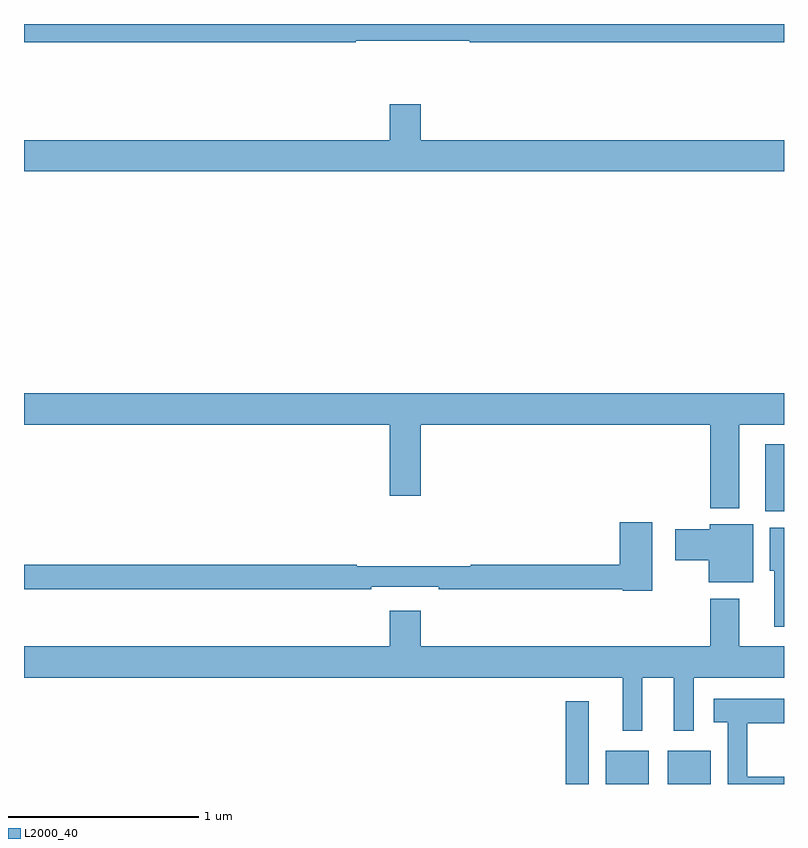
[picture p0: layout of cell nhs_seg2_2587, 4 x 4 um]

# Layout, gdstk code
import gdstk
lib = gdstk.Library(unit=1e-6, precision=1e-09)
def R(c, l, rs):  # rectangles x0, y0, x1, y1
    for r in rs: c.add(gdstk.rectangle(r[:2], r[2:], *l))
def P(c, l, *ps):  # polygons
    for p in ps: c.add(gdstk.Polygon(p, *l))
L2000_40 = (2000, 40)

nhs_seg2_2587 = lib.new_cell('nhs_seg2_2587')
R(nhs_seg2_2587, L2000_40, [(249.852,589.8,249.973,590.236), (250.061,589.8,250.288,589.975), (250.388,589.8,250.615,589.975), (250.901,591.236,251,591.589)])
P(nhs_seg2_2587, L2000_40, [(248.745,593.712),(249.345,593.712),(249.345,593.704),(251,593.704),(251,593.8),(247,593.8),(247,593.704),(248.745,593.704)],
  [(251,593.188),(249.088,593.188),(249.088,593.377),(248.924,593.377),(248.924,593.188),(247,593.188),(247,593.024),(251,593.024)],
  [(250.765,591.692),(251,591.692),(251,591.856),(247,591.856),(247,591.692),(248.924,591.692),(248.924,591.318),(249.088,591.318),(249.088,591.692),(250.613,591.692),(250.613,591.251),(250.765,591.251)],
  [(250.306,591.178),(250.136,591.178),(250.136,590.954),(249.352,590.954),(249.352,590.947),(248.752,590.947),(248.752,590.954),(247,590.954),(247,590.826),(248.828,590.826),(248.828,590.838),(249.184,590.838),(249.184,590.826),(250.152,590.826),(250.152,590.818),(250.306,590.818)],
  [(250.837,591.166),(250.608,591.166),(250.608,591.142),(250.428,591.142),(250.428,590.977),(250.604,590.977),(250.604,590.861),(250.837,590.861)],
  [(251,591.148),(250.925,591.148),(250.925,590.922),(250.949,590.922),(250.949,590.628),(251,590.628)],
  [(250.255,590.36),(250.421,590.36),(250.421,590.079),(250.525,590.079),(250.525,590.36),(251,590.36),(251,590.524),(250.765,590.524),(250.765,590.776),(250.613,590.776),(250.613,590.524),(249.088,590.524),(249.088,590.713),(248.924,590.713),(248.924,590.524),(247,590.524),(247,590.36),(250.151,590.36),(250.151,590.079),(250.255,590.079)],
  [(251,589.837),(250.807,589.837),(250.807,590.119),(251,590.119),(251,590.248),(250.629,590.248),(250.629,590.126),(250.703,590.126),(250.703,589.8),(251,589.8)])

lib.write_gds('nhs_seg2_2587.gds')
